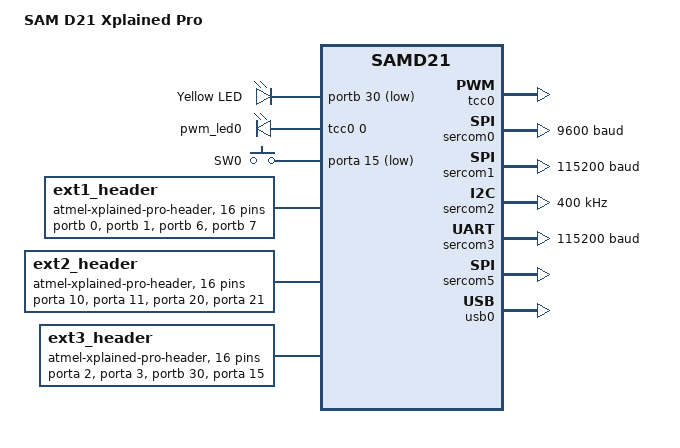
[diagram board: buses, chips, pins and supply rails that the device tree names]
/*
 * Copyright (c) 2018 Bryan O'Donoghue
 * Copyright (c) 2024 Scott Barnes <scott@atomsmith.net>
 *
 * SPDX-License-Identifier: Apache-2.0
 */

/dts-v1/;
#include <freq.h>
#include <atmel/samd21.dtsi>
#include <atmel/samx2xx18.dtsi>
#include "atsamd21_xpro-pinctrl.dtsi"
#include <zephyr/dt-bindings/input/input-event-codes.h>

/ {
	model = "SAM D21 Xplained Pro";
	compatible = "atsamd21,xpro", "atmel,samd21j18a", "atmel,samd21";

	chosen {
		zephyr,console = &sercom3;
		zephyr,shell-uart = &sercom3;
		zephyr,sram = &sram0;
		zephyr,flash = &flash0;
	};

	/* These aliases are provided for compatibility with samples */
	aliases {
		led0 = &led0;
		pwm-led0 = &pwm_led0;
		sw0 = &user_button;
		i2c-0 = &sercom2;
	};

	leds {
		compatible = "gpio-leds";
		led0: led_0 {
			gpios = <&portb 30 GPIO_ACTIVE_LOW>;
			label = "Yellow LED";
		};
	};

	pwmleds {
		compatible = "pwm-leds";
		pwm_led0: pwm_led_0 {
			pwms = <&tcc0 0 PWM_MSEC(20)>;
		};
	};

	buttons {
		compatible = "gpio-keys";
		user_button: button_0 {
			gpios = <&porta 15 (GPIO_PULL_UP | GPIO_ACTIVE_LOW)>;
			label = "SW0";
			zephyr,code = <INPUT_KEY_0>;
		};
	};

	ext1_header: xplained-pro-connector1 {
		compatible = "atmel-xplained-pro-header";
		#gpio-cells = <2>;
		gpio-map-mask = <0xffffffff 0xffffffc0>;
		gpio-map-pass-thru = <0 0x3f>;		/*           Shared */
		gpio-map =	<0  0 &portb 0 0>,	/* AIN[8]       */
				<1  0 &portb 1 0>,	/* AIN[9]           */
				<2  0 &portb 6 0>,	/* GPIO             */
				<3  0 &portb 7 0>,	/* GPIO             */
				<4  0 &portb 2 0>,	/* TC6/WO[0]        */
				<5  0 &portb 3 0>,	/* TC6/WO[1]        */
				<6  0 &portb 4 0>,	/* EXTINT[4]        */
				<7  0 &portb 5 0>,	/* GPIO             */
				<8  0 &porta 8 0>,	/* I2C2 SDA    EXT2,EXT3,EDBG */
				<9  0 &porta 9 0>,	/* I2C2 SDL    EXT2,EXT3,EDBG */
				<10 0 &portb 9 0>,	/* RXD4             */
				<11 0 &portb 8 0>,	/* TXD4             */
				<12 0 &porta 5 0>,	/* SPI0(SS)         */
				<13 0 &porta 6 0>,	/* SPI0(MOSI)       */
				<14 0 &porta 4 0>,	/* SPI0(MISO)       */
				<15 0 &porta 7 0>;	/* SPI0(SCK)        */
							/* GND              */
							/* +3.3V            */
	};

	ext2_header: xplained-pro-connector2 {
		compatible = "atmel-xplained-pro-header";
		#gpio-cells = <2>;
		gpio-map-mask = <0xffffffff 0xffffffc0>;
		gpio-map-pass-thru = <0 0x3f>;		/*           Shared */
		gpio-map =	<0  0 &porta 10 0>,	/* AIN[18]          */
				<1  0 &porta 11 0>,	/* AIN[19]          */
				<2  0 &porta 20 0>,	/* GPIO             */
				<3  0 &porta 21 0>,	/* GPIO             */
				<4  0 &portb 12 0>,	/* TC4/WO[0]        */
				<5  0 &portb 13 0>,	/* TC4/WO[1]        */
				<6  0 &portb 14 0>,	/* EXTINT[14]       */
				<7  0 &portb 15 0>,	/* GPIO             */
				<8  0 &porta 8 0>,	/* I2C2 SDA    EXT1,EXT3,EDBG */
				<9  0 &porta 9 0>,	/* I2C2 SDL    EXT1,EXT3,EDBG */
				<10 0 &portb 11 0>,	/* RXD4        EXT3 */
				<11 0 &portb 10 0>,	/* TXD4        EXT3 */
				<12 0 &porta 17 0>,	/* SPI1(SS)         */
				<13 0 &porta 18 0>,	/* SPI1(MOSI)       */
				<14 0 &porta 16 0>,	/* SPI1(MISO)       */
				<15 0 &porta 19 0>;	/* SPI1(SCK)        */
							/* GND              */
							/* +3.3V            */
	};

	ext3_header: xplained-pro-connector3 {
		compatible = "atmel-xplained-pro-header";
		#gpio-cells = <2>;
		gpio-map-mask = <0xffffffff 0xffffffc0>;
		gpio-map-pass-thru = <0 0x3f>;		/*           Shared */
		gpio-map =	<0  0 &porta 2 0>,	/* AIN[0]       */
				<1  0 &porta 3 0>,	/* AIN[1]      USB ID*/
				<2  0 &portb 30 0>,	/* GPIO        LED0  */
				<3  0 &porta 15 0>,	/* GPIO        SW0   */
				<4  0 &porta 12 0>,	/* TCC2/WO[0]        */
				<5  0 &porta 13 0>,	/* TCC2/WO[1]  Serial Flash SS */
				<6  0 &porta 28 0>,	/* EXTINT[8]         */
				<7  0 &porta 27 0>,	/* GPIO              */
				<8  0 &porta 8 0>,	/* I2C2 SDA    EXT1,EXT2,EDBG */
				<9  0 &porta 9 0>,	/* I2C2 SDL    EXT1,EXT2,EDBG */
				<10 0 &portb 11 0>,	/* RXD4        EXT2 */
				<11 0 &portb 10 0>,	/* TXD4        EXT2 */
				<12 0 &portb 17 0>,	/* SPI5(SS)         */
				<13 0 &portb 22 0>,	/* SPI5(MOSI)  EDBG and Serial Flash*/
				<14 0 &portb 16 0>,	/* SPI5(MISO)  EDBG and Serial Flash*/
				<15 0 &portb 23 0>;	/* SPI5(SCK)   EDBG and Serial Flash*/
							/* GND              */
							/* +3.3V            */
	};
};

&cpu0 {
	clock-frequency = <DT_FREQ_M(48)>;
};

&tcc0 {
	status = "okay";
	compatible = "atmel,sam0-tcc-pwm";
	/* Gives a maximum period of 1.4s */
	prescaler = <4>;
	#pwm-cells = <2>;

	pinctrl-0 = <&pwm_default>;
	pinctrl-names = "default";
};

&sercom0 {
	status = "okay";
	compatible = "atmel,sam0-uart";
	current-speed = <9600>;
	rxpo = <3>;
	txpo = <2>;

	pinctrl-0 = <&sercom0_uart_default>;
	pinctrl-names = "default";
};

&sercom1 {
	status = "okay";
	compatible = "atmel,sam0-uart";
	current-speed = <115200>;
	rxpo = <3>;
	txpo = <0>;

	pinctrl-0 = <&sercom1_uart_default>;
	pinctrl-names = "default";
};

&sercom2 {
	status = "okay";
	compatible = "atmel,sam0-i2c";
	clock-frequency = <I2C_BITRATE_FAST>;
	#address-cells = <1>;
	#size-cells = <0>;

	pinctrl-0 = <&sercom2_i2c_default>;
	pinctrl-names = "default";
};

&sercom3 {
	status = "okay";
	compatible = "atmel,sam0-uart";
	current-speed = <115200>;
	rxpo = <1>;
	txpo = <0>;

	pinctrl-0 = <&sercom3_uart_default>;
	pinctrl-names = "default";
};

&sercom5 {
	status = "okay";
	compatible = "atmel,sam0-spi";
	dipo = <0>;
	dopo = <2>;
	#address-cells = <1>;
	#size-cells = <0>;

	pinctrl-0 = <&sercom5_spi_default>;
	pinctrl-names = "default";
};

zephyr_udc0: &usb0 {
	status = "okay";

	pinctrl-0 = <&usb_dc_default>;
	pinctrl-names = "default";
};

/* The below Xplained Pro Extension Header labels are provided to
 * assist shield setup. They do not reconfigure the SERCOM modules,
 * select the correct driver, or adjust pin muxes. These changes
 * must be made by overlays at the shield and application levels.
 */

ext1_spi: &sercom0 {
};

ext1_i2c: &sercom2 {
};

ext1_serial: &sercom4 {
};

ext2_spi: &sercom1 {
};

ext2_i2c: &sercom2 {
};

ext2_serial: &sercom4 {
};

ext3_spi: &sercom5 {
};

ext3_i2c: &sercom2 {
};

ext3_serial: &sercom4 {
};
